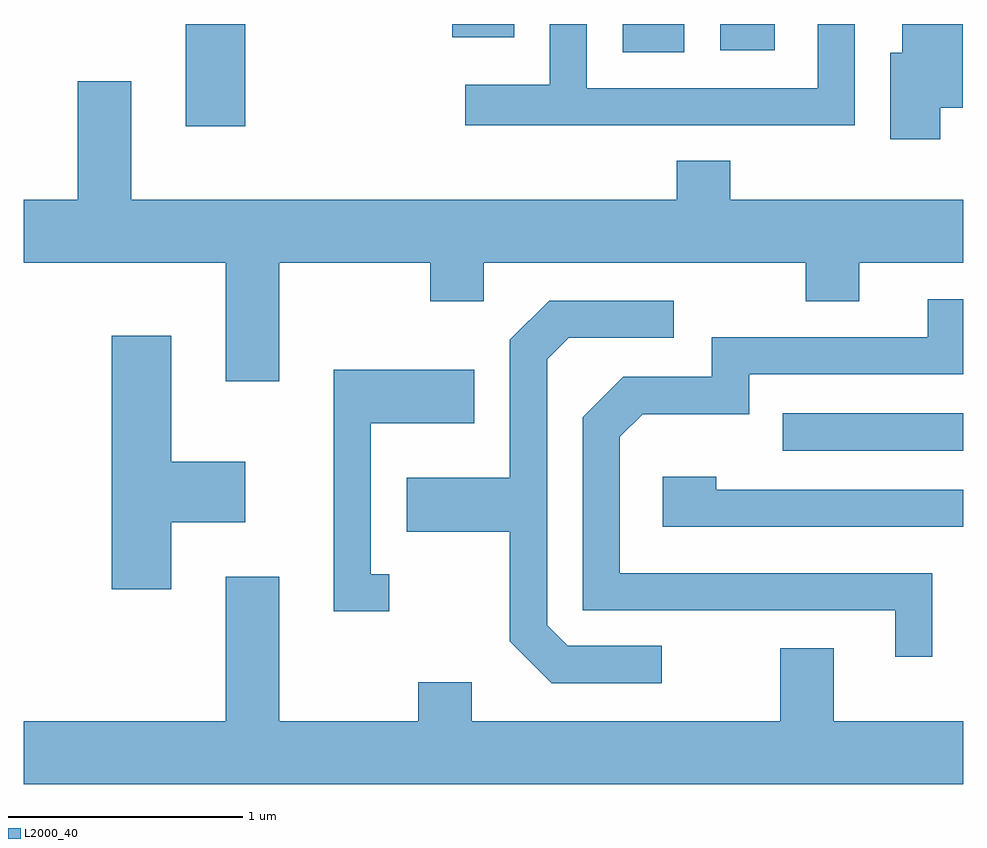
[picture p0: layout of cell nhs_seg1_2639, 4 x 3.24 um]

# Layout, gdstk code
import gdstk
lib = gdstk.Library(unit=1e-6, precision=1e-09)
def R(c, l, rs):  # rectangles x0, y0, x1, y1
    for r in rs: c.add(gdstk.rectangle(r[:2], r[2:], *l))
def P(c, l, *ps):  # polygons
    for p in ps: c.add(gdstk.Polygon(p, *l))
L2000_40 = (2000, 40)

nhs_seg1_2639 = lib.new_cell('nhs_seg1_2639')
R(nhs_seg1_2639, L2000_40, [(268.843,889.896,269.611,890.054), (266.301,891.276,266.554,891.712), (268.161,891.591,268.424,891.712), (268.576,891.601,268.809,891.712), (267.436,891.656,267.699,891.712)])
P(nhs_seg1_2639, L2000_40, [(269.149,891.712),(268.991,891.712),(268.991,891.439),(268.009,891.439),(268.009,891.712),(267.851,891.712),(267.851,891.454),(267.491,891.454),(267.491,891.281),(269.149,891.281)],
  [(269.514,891.356),(269.609,891.356),(269.609,891.712),(269.351,891.712),(269.351,891.589),(269.301,891.589),(269.301,891.221),(269.514,891.221)],
  [(266.699,890.696),(267.341,890.696),(267.341,890.531),(267.569,890.531),(267.569,890.696),(268.941,890.696),(268.941,890.531),(269.169,890.531),(269.169,890.696),(269.611,890.696),(269.611,890.964),(268.619,890.964),(268.619,891.129),(268.391,891.129),(268.391,890.964),(266.069,890.964),(266.069,891.469),(265.841,891.469),(265.841,890.964),(265.611,890.964),(265.611,890.696),(266.471,890.696),(266.471,890.191),(266.699,890.191)],
  [(269.479,889.374),(268.149,889.374),(268.149,889.954),(268.247,890.051),(268.699,890.051),(268.699,890.221),(269.611,890.221),(269.611,890.539),(269.461,890.539),(269.461,890.379),(268.541,890.379),(268.541,890.209),(268.164,890.209),(267.991,890.037),(267.991,889.216),(269.321,889.216),(269.321,889.018),(269.479,889.018)],
  [(268.328,889.064),(267.927,889.064),(267.839,889.152),(267.839,890.284),(267.932,890.376),(268.378,890.376),(268.378,890.534),(267.849,890.534),(267.681,890.367),(267.681,889.779),(267.241,889.779),(267.241,889.551),(267.681,889.551),(267.681,889.084),(267.859,888.906),(268.328,888.906)],
  [(266.239,889.591),(266.554,889.591),(266.554,889.849),(266.239,889.849),(266.239,890.384),(265.986,890.384),(265.986,889.306),(266.239,889.306)],
  [(267.168,889.369),(267.089,889.369),(267.089,890.011),(267.529,890.011),(267.529,890.239),(266.931,890.239),(266.931,889.211),(267.168,889.211)],
  [(269.611,889.729),(268.559,889.729),(268.559,889.784),(268.331,889.784),(268.331,889.571),(269.611,889.571)],
  [(269.611,888.744),(269.059,888.744),(269.059,889.054),(268.831,889.054),(268.831,888.744),(267.519,888.744),(267.519,888.909),(267.291,888.909),(267.291,888.744),(266.699,888.744),(266.699,889.359),(266.471,889.359),(266.471,888.744),(265.611,888.744),(265.611,888.476),(269.611,888.476)])

lib.write_gds('nhs_seg1_2639.gds')
